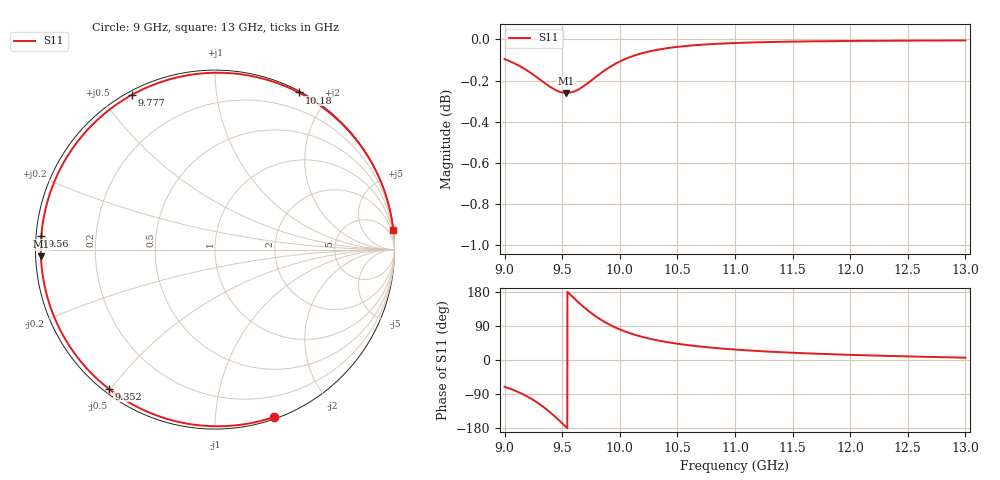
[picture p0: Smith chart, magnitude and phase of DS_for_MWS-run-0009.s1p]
! TOUCHSTONE file generated by CST DESIGN STUDIO
! Date and time: Tue Feb  4 18:02:11 2025
! Project name: C:\Work\MatlabApps\UnitCellOptimizationMatlab\CST\unitcell.cst
! Tree item: Tasks\Sweep1\SPara1\S-Parameters
! Header version: 2024
! Port assignment regex: !\s*Touchstone port\s*([0-9]+)\s*=\s*(CST MWS port|CST DES external port|CST DES block port)\s*(.+)\s* \(\"(.*)\"\)(\s*mode\s*([0-9]+))?.*
! Touchstone port assignment:
! Touchstone port 1 = CST DES external port 1 ("")
# GHz S MA R 50
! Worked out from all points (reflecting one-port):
!   4001 points, 9 GHz to 13 GHz, reference 50 ohm
!   lowest |S11| = -0.3 dB at 9.537 GHz (marker M1), VSWR 66.75, Z = 0.749 - j0.949 ohm
!   phase of S11 starts at -71 deg and turns -283 deg over the sweep
!   S11 on the Smith chart (normalised r, x): 9 GHz: 0.02, -1.41; 9.352 GHz: 0.02, -0.49; 9.56 GHz: 0.01, +0.04; 9.777 GHz: 0.01, +0.60; 10.18 GHz: 0.01, +1.67; 13 GHz: 0, +19
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9  0.989 -70.6
9.099  0.9862 -82.0
9.208  0.9822 -98.2
9.284  0.9788 -112.4
9.352  0.9757 -127.4
9.422  0.9727 -145.1
9.463  0.9715 -156.4
9.5  0.9707 -167.0
9.537  0.9705 -177.8
9.56  0.9706 175.4
9.614  0.9716 159.8
9.675  0.9737 143.0
9.726  0.976 130.0
9.777  0.9785 118.3
9.825  0.9808 108.4
9.876  0.9831 99.0
9.933  0.9854 89.9
10  0.9877 80.7
10.088  0.9901 70.7
10.184  0.9921 61.9
10.328  0.9942 51.8
10.5  0.9958 42.9
10.721  0.9971 34.8
11  0.998 27.6
11.5  0.9988 19.1
12  0.9991 13.6
12.5  0.9993 9.5
13  0.9994 6.2
